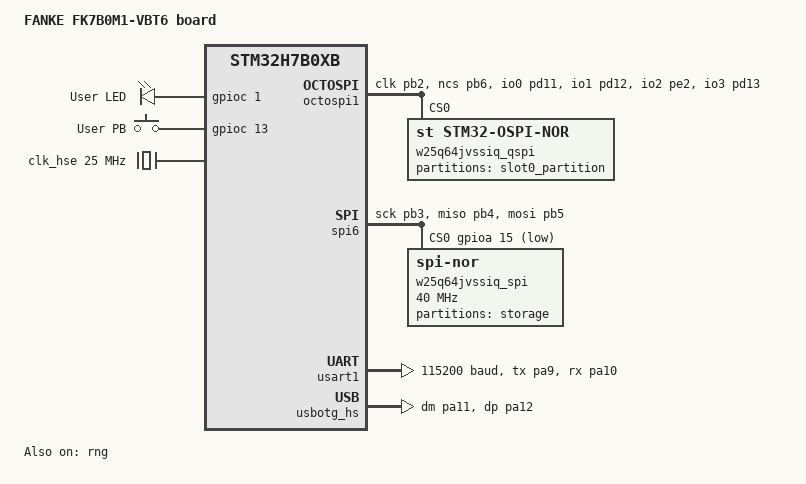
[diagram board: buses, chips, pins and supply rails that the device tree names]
/*
 * Copyright (c) 2023 Charles Dias <charlesdias.cd@outlook.com>
 *
 * SPDX-License-Identifier: Apache-2.0
 */

/dts-v1/;
#include <st/h7/stm32h7b0Xb.dtsi>
#include <st/h7/stm32h7b0vbtx-pinctrl.dtsi>
#include <zephyr/dt-bindings/memory-attr/memory-attr-arm.h>
#include <zephyr/dt-bindings/input/input-event-codes.h>

/ {
	model = "FANKE FK7B0M1-VBT6 board";
	compatible = "fanke,fk7b0m1-vbt6";

	chosen {
		zephyr,console = &usart1;
		zephyr,shell-uart = &usart1;
		zephyr,sram = &sram0;
		zephyr,flash = &flash0;
	};

	leds {
		compatible = "gpio-leds";
		user_led: led_0 {
			gpios = <&gpioc 1 GPIO_ACTIVE_HIGH>;
			label = "User LED";
		};
	};

	gpio_keys {
		compatible = "gpio-keys";
		user_button: button_0 {
			label = "User PB";
			gpios = <&gpioc 13 (GPIO_PULL_UP | GPIO_ACTIVE_HIGH)>;
			zephyr,code = <INPUT_KEY_0>;
		};
	};

	aliases {
		led0 = &user_led;
		sw0 = &user_button;
		spi-flash0 = &w25q64jvssiq_spi;
	};
};

&clk_hsi48 {
	status = "okay";
};

&clk_hse {
	clock-frequency = <DT_FREQ_M(25)>;
	status = "okay";
};

/* PLL1P is used for system clock (280 MHz) */
&pll {
	div-m = <5>;
	mul-n = <112>;
	div-p = <2>;
	div-q = <2>;
	div-r = <2>;
	clocks = <&clk_hse>;
	status = "okay";
};

&rcc {
	clocks = <&pll>;
	clock-frequency = <DT_FREQ_M(280)>;
	d1cpre = <1>;
	hpre = <1>;
	d1ppre = <2>;
	d2ppre1 = <2>;
	d2ppre2 = <2>;
	d3ppre = <2>;
};

&octospi1 {
	pinctrl-0 = <&octospim_p1_clk_pb2 &octospim_p1_ncs_pb6
		     &octospim_p1_io0_pd11 &octospim_p1_io1_pd12
		     &octospim_p1_io2_pe2 &octospim_p1_io3_pd13>;
	pinctrl-names = "default";
	status = "okay";

	/* Winbond external flash */
	w25q64jvssiq_qspi: qspi-nor-flash@0 {
		compatible = "st,stm32-ospi-nor";
		reg = <0 DT_SIZE_M(8)>; /* 64 Mbits */
		ospi-max-frequency = <DT_FREQ_M(133)>;
		spi-bus-width = <OSPI_QUAD_MODE>;
		data-rate = <OSPI_STR_TRANSFER>;
		writeoc = "PP_1_1_4";
		status = "okay";
		partitions {
			compatible = "fixed-partitions";
			#address-cells = <1>;
			#size-cells = <1>;
			slot0_partition: partition@0 {
				reg = <0x00000000 DT_SIZE_M(8)>; /* 64 Mbits */
			};
		};
	};
};

&spi6 {
	pinctrl-0 = <&spi6_sck_pb3 &spi6_miso_pb4 &spi6_mosi_pb5>;
	cs-gpios = <&gpioa 15 GPIO_ACTIVE_LOW>;
	pinctrl-names = "default";
	status = "okay";
	w25q64jvssiq_spi: spi-nor-flash@0 {
		compatible = "jedec,spi-nor";
		reg = <0>;
		spi-max-frequency = <DT_FREQ_M(40)>;
		size = <DT_SIZE_M(64)>; /* 64 Mbits */
		status = "okay";
		jedec-id = [ef 40 17];
		has-dpd;
		t-enter-dpd = <3500>;
		t-exit-dpd = <3500>;
		partitions {
			compatible = "fixed-partitions";
			#address-cells = <1>;
			#size-cells = <1>;
			storage_partition: partition@0 {
				label = "storage";
				reg = <0x00000000 DT_SIZE_M(8)>; /* 64 Mbits */
			};
		};
	};
};

&usart1 {
	pinctrl-0 = <&usart1_tx_pa9 &usart1_rx_pa10>;
	pinctrl-names = "default";
	current-speed = <115200>;
	status = "okay";
};

&backup_sram {
	status = "okay";
};

zephyr_udc0: &usbotg_hs {
	pinctrl-0 = <&usb_otg_hs_dm_pa11 &usb_otg_hs_dp_pa12>;
	pinctrl-names = "default";
	status = "okay";
};

&rng {
	status = "okay";
};
